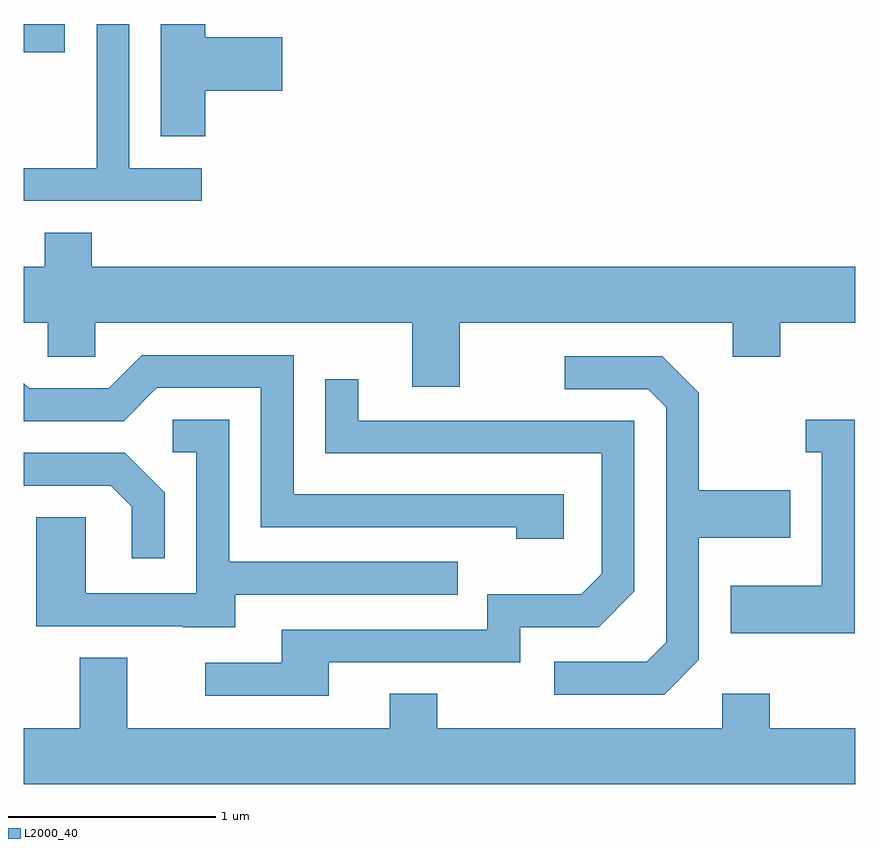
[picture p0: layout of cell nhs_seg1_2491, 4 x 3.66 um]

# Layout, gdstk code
import gdstk
lib = gdstk.Library(unit=1e-6, precision=1e-09)
def R(c, l, rs):  # rectangles x0, y0, x1, y1
    for r in rs: c.add(gdstk.rectangle(r[:2], r[2:], *l))
def P(c, l, *ps):  # polygons
    for p in ps: c.add(gdstk.Polygon(p, *l))
L2000_40 = (2000, 40)

nhs_seg1_2491 = lib.new_cell('nhs_seg1_2491')
R(nhs_seg1_2491, L2000_40, [(261.611,867.576,261.809,867.712)])
P(nhs_seg1_2491, L2000_40, [(262.468,867.019),(262.119,867.019),(262.119,867.712),(261.961,867.712),(261.961,867.019),(261.611,867.019),(261.611,866.861),(262.468,866.861)],
  [(262.484,867.391),(262.854,867.391),(262.854,867.649),(262.484,867.649),(262.484,867.712),(262.271,867.712),(262.271,867.171),(262.484,867.171)],
  [(263.709,866.276),(265.021,866.276),(265.021,866.111),(265.249,866.111),(265.249,866.276),(265.611,866.276),(265.611,866.544),(261.939,866.544),(261.939,866.709),(261.711,866.709),(261.711,866.544),(261.611,866.544),(261.611,866.276),(261.726,866.276),(261.726,866.111),(261.954,866.111),(261.954,866.276),(263.481,866.276),(263.481,865.966),(263.709,865.966)],
  [(264.209,865.449),(262.909,865.449),(262.909,866.119),(262.179,866.119),(262.019,865.959),(261.637,865.959),(261.611,865.985),(261.611,865.801),(262.092,865.801),(262.252,865.961),(262.751,865.961),(262.751,865.291),(263.981,865.291),(263.981,865.236),(264.209,865.236)],
  [(264.859,864.654),(264.859,865.241),(265.299,865.241),(265.299,865.469),(264.859,865.469),(264.859,865.937),(264.682,866.114),(264.213,866.114),(264.213,865.956),(264.614,865.956),(264.701,865.869),(264.701,864.737),(264.609,864.644),(264.163,864.644),(264.163,864.486),(264.692,864.486)],
  [(263.079,864.641),(263.999,864.641),(263.999,864.811),(264.377,864.811),(264.549,864.984),(264.549,865.804),(263.219,865.804),(263.219,866.003),(263.061,866.003),(263.061,865.646),(264.391,865.646),(264.391,865.067),(264.294,864.969),(263.841,864.969),(263.841,864.799),(262.851,864.799),(262.851,864.639),(262.483,864.639),(262.483,864.481),(263.079,864.481)],
  [(265.609,865.809),(265.373,865.809),(265.373,865.651),(265.451,865.651),(265.451,865.009),(265.011,865.009),(265.011,864.781),(265.609,864.781)],
  [(262.629,864.966),(263.698,864.966),(263.698,865.124),(262.599,865.124),(262.599,865.809),(262.328,865.809),(262.328,865.651),(262.441,865.651),(262.441,864.974),(261.909,864.974),(261.909,865.339),(261.671,865.339),(261.671,864.816),(262.375,864.816),(262.375,864.811),(262.629,864.811)],
  [(262.289,865.457),(262.097,865.649),(261.611,865.649),(261.611,865.491),(262.029,865.491),(262.131,865.389),(262.131,865.143),(262.289,865.143)],
  [(265.611,864.324),(265.199,864.324),(265.199,864.489),(264.971,864.489),(264.971,864.324),(263.599,864.324),(263.599,864.489),(263.371,864.489),(263.371,864.324),(262.109,864.324),(262.109,864.664),(261.881,864.664),(261.881,864.324),(261.611,864.324),(261.611,864.056),(265.611,864.056)])

lib.write_gds('nhs_seg1_2491.gds')
